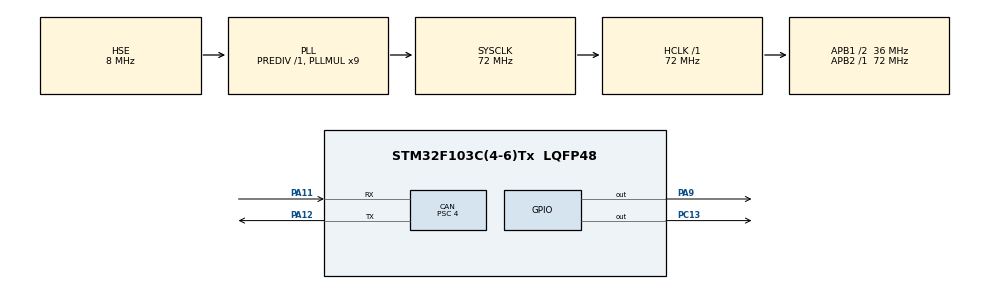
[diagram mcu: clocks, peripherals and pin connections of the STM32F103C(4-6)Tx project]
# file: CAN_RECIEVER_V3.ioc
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CAN.ABOM=ENABLE
CAN.BS1=CAN_BS1_15TQ
CAN.BS2=CAN_BS2_2TQ
CAN.CalculateBaudRate=500000
CAN.CalculateTimeBit=2000
CAN.CalculateTimeQuantum=111.11111111111111
CAN.NART=ENABLE
CAN.Prescaler=4
Mcu.Family=STM32F1
Mcu.Name=STM32F103C(4-6)Tx
Mcu.Package=LQFP48
NVIC.CAN1_RX1_IRQn=true\:0\:0\:false\:false\:true\:true\:true\:true
NVIC.PriorityGroup=NVIC_PRIORITYGROUP_4
NVIC.USB_LP_CAN1_RX0_IRQn=true\:0\:0\:false\:false\:true\:true\:true\:true
PA11.Mode=CAN_Activate
PA11.Signal=CAN_RX
PA12.Mode=CAN_Activate
PA12.Signal=CAN_TX
PA13.Mode=Serial_Wire
PA13.Signal=SYS_JTMS-SWDIO
PA14.Mode=Serial_Wire
PA14.Signal=SYS_JTCK-SWCLK
PA9.Signal=GPIO_Output
PC13-TAMPER-RTC.Signal=GPIO_Output
PD0-OSC_IN.Mode=HSE-External-Oscillator
PD0-OSC_IN.Signal=RCC_OSC_IN
PD1-OSC_OUT.Mode=HSE-External-Oscillator
PD1-OSC_OUT.Signal=RCC_OSC_OUT
ProjectManager.HeapSize=0x200
ProjectManager.StackSize=0x400
ProjectManager.TargetToolchain=STM32CubeIDE
RCC.AHBFreq_Value=72000000
RCC.APB1CLKDivider=RCC_HCLK_DIV2
RCC.APB1Freq_Value=36000000
RCC.APB1TimFreq_Value=72000000
RCC.APB2Freq_Value=72000000
RCC.APB2TimFreq_Value=72000000
RCC.HCLKFreq_Value=72000000
RCC.PLLMUL=RCC_PLL_MUL9
RCC.PLLSourceVirtual=RCC_PLLSOURCE_HSE
RCC.SYSCLKFreq_VALUE=72000000
RCC.SYSCLKSource=RCC_SYSCLKSOURCE_PLLCLK
RCC.USBFreq_Value=72000000
board=custom

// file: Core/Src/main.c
/* USER CODE BEGIN Header */
/* USER CODE END Header */
#include "main.h"

CAN_HandleTypeDef hcan;

/* USER CODE BEGIN PV */
CAN_TxHeaderTypeDef   TxHeader;
CAN_RxHeaderTypeDef   RxHeader;
uint8_t               TxData[8];
uint8_t               RxData[8];
uint32_t              TxMailbox;
uint8_t datacheck =0;
/* USER CODE END PV */

void SystemClock_Config(void);
static void MX_GPIO_Init(void);
static void MX_CAN_Init(void);

int main(void)
{

	/* MCU Configuration--------------------------------------------------------*/

	/* Reset of all peripherals, Initializes the Flash interface and the Systick. */
	HAL_Init();

	/* Configure the system clock */
	SystemClock_Config();

	/* Initialize all configured peripherals */
	MX_GPIO_Init();
	MX_CAN_Init();
	/* USER CODE BEGIN 2 */

	CAN_FilterTypeDef  sFilterConfig;

	sFilterConfig.FilterBank = 0;
	sFilterConfig.FilterMode = CAN_FILTERMODE_IDMASK;
	sFilterConfig.FilterScale = CAN_FILTERSCALE_32BIT;
	sFilterConfig.FilterIdHigh = 0x0000;
	sFilterConfig.FilterIdLow = 0x0000;
	sFilterConfig.FilterMaskIdHigh = 0x0000;
	sFilterConfig.FilterMaskIdLow = 0x0000;
	sFilterConfig.FilterFIFOAssignment = CAN_RX_FIFO0;
	sFilterConfig.FilterActivation = ENABLE;
	sFilterConfig.SlaveStartFilterBank = 13;

	if (HAL_CAN_ConfigFilter(&hcan, &sFilterConfig) != HAL_OK)
	{
		/* Filter configuration Error */
		Error_Handler();
	}

	if (HAL_CAN_Start(&hcan) != HAL_OK)
	{
		/* Start Error */
		Error_Handler();
	}

	if (HAL_CAN_ActivateNotification(&hcan, CAN_IT_RX_FIFO0_MSG_PENDING) != HAL_OK)
	{
		/* Notification Error */
		Error_Handler();
	}

	TxHeader.StdId = 0x100;
	TxHeader.RTR = CAN_RTR_DATA; // Data frame
	TxHeader.IDE = CAN_ID_STD; // Standard ID
	TxHeader.DLC = 4; // 4 bytes of data
	TxHeader.TransmitGlobalTime = DISABLE;
	/* USER CODE END 2 */

	/* Infinite loop */
	/* USER CODE BEGIN WHILE */
	/* USER CODE BEGIN WHILE */
	while (1)
	{
		if(datacheck)
		{
			HAL_GPIO_TogglePin(GPIOC, GPIO_PIN_13);
			HAL_GPIO_TogglePin(GPIOA, GPIO_PIN_9);
			datacheck =0;
		}
		/* USER CODE END WHILE */

	}
}

void SystemClock_Config(void)
{
	RCC_OscInitTypeDef RCC_OscInitStruct = {0};
	RCC_ClkInitTypeDef RCC_ClkInitStruct = {0};

	/** Initializes the RCC Oscillators according to the specified parameters
	 * in the RCC_OscInitTypeDef structure.
	 */
	RCC_OscInitStruct.OscillatorType = RCC_OSCILLATORTYPE_HSE;
	RCC_OscInitStruct.HSEState = RCC_HSE_ON;
	RCC_OscInitStruct.HSEPredivValue = RCC_HSE_PREDIV_DIV1;
	RCC_OscInitStruct.HSIState = RCC_HSI_ON;
	RCC_OscInitStruct.PLL.PLLState = RCC_PLL_ON;
	RCC_OscInitStruct.PLL.PLLSource = RCC_PLLSOURCE_HSE;
	RCC_OscInitStruct.PLL.PLLMUL = RCC_PLL_MUL9;
	if (HAL_RCC_OscConfig(&RCC_OscInitStruct) != HAL_OK)
	{
		Error_Handler();
	}

	/** Initializes the CPU, AHB and APB buses clocks
	 */
	RCC_ClkInitStruct.ClockType = RCC_CLOCKTYPE_HCLK|RCC_CLOCKTYPE_SYSCLK
			|RCC_CLOCKTYPE_PCLK1|RCC_CLOCKTYPE_PCLK2;
	RCC_ClkInitStruct.SYSCLKSource = RCC_SYSCLKSOURCE_PLLCLK;
	RCC_ClkInitStruct.AHBCLKDivider = RCC_SYSCLK_DIV1;
	RCC_ClkInitStruct.APB1CLKDivider = RCC_HCLK_DIV2;
	RCC_ClkInitStruct.APB2CLKDivider = RCC_HCLK_DIV1;

	if (HAL_RCC_ClockConfig(&RCC_ClkInitStruct, FLASH_LATENCY_2) != HAL_OK)
	{
		Error_Handler();
	}
}

static void MX_CAN_Init(void)
{

	hcan.Instance = CAN1;
	hcan.Init.Prescaler = 4;
	hcan.Init.Mode = CAN_MODE_NORMAL;
	hcan.Init.SyncJumpWidth = CAN_SJW_1TQ;
	hcan.Init.TimeSeg1 = CAN_BS1_15TQ;
	hcan.Init.TimeSeg2 = CAN_BS2_2TQ;
	hcan.Init.TimeTriggeredMode = DISABLE;
	hcan.Init.AutoBusOff = ENABLE;
	hcan.Init.AutoWakeUp = DISABLE;
	hcan.Init.AutoRetransmission = ENABLE;
	hcan.Init.ReceiveFifoLocked = DISABLE;
	hcan.Init.TransmitFifoPriority = DISABLE;
	if (HAL_CAN_Init(&hcan) != HAL_OK)
	{
		Error_Handler();
	}

}

static void MX_GPIO_Init(void)
{
	GPIO_InitTypeDef GPIO_InitStruct = {0};

	/* GPIO Ports Clock Enable */
	__HAL_RCC_GPIOC_CLK_ENABLE();
	__HAL_RCC_GPIOD_CLK_ENABLE();
	__HAL_RCC_GPIOA_CLK_ENABLE();

	/*Configure GPIO pin Output Level */
	HAL_GPIO_WritePin(GPIOC, GPIO_PIN_13, GPIO_PIN_RESET);

	/*Configure GPIO pin Output Level */
	HAL_GPIO_WritePin(GPIOA, GPIO_PIN_9, GPIO_PIN_RESET);

	/*Configure GPIO pin : PC13 */
	GPIO_InitStruct.Pin = GPIO_PIN_13;
	GPIO_InitStruct.Mode = GPIO_MODE_OUTPUT_PP;
	GPIO_InitStruct.Pull = GPIO_NOPULL;
	GPIO_InitStruct.Speed = GPIO_SPEED_FREQ_LOW;
	HAL_GPIO_Init(GPIOC, &GPIO_InitStruct);

	/*Configure GPIO pin : PA9 */
	GPIO_InitStruct.Pin = GPIO_PIN_9;
	GPIO_InitStruct.Mode = GPIO_MODE_OUTPUT_PP;
	GPIO_InitStruct.Pull = GPIO_NOPULL;
	GPIO_InitStruct.Speed = GPIO_SPEED_FREQ_LOW;
	HAL_GPIO_Init(GPIOA, &GPIO_InitStruct);

}

/* USER CODE BEGIN 4 */
void HAL_CAN_RxFifo0MsgPendingCallback(CAN_HandleTypeDef *hcan)
{

	if (HAL_CAN_GetRxMessage(hcan, CAN_RX_FIFO0, &RxHeader, RxData) == HAL_OK)
	{
		datacheck =1;
		//		HAL_GPIO_TogglePin(GPIOA, GPIO_PIN_9);
		//		HAL_GPIO_TogglePin(GPIOC, GPIO_PIN_13);
	}
}
/* USER CODE END 4 */

void Error_Handler(void)
{
}
